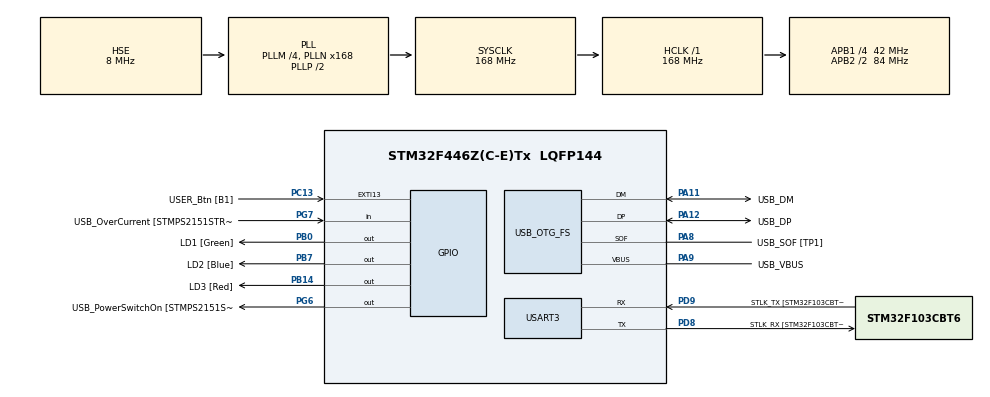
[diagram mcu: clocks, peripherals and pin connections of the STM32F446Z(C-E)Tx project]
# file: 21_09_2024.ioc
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Mcu.Family=STM32F4
Mcu.Name=STM32F446Z(C-E)Tx
Mcu.Package=LQFP144
NVIC.PriorityGroup=NVIC_PRIORITYGROUP_4
PA10.GPIO_Label=USB_ID
PA10.Signal=USB_OTG_FS_ID
PA11.GPIO_Label=USB_DM
PA11.Mode=Device_Only
PA11.Signal=USB_OTG_FS_DM
PA12.GPIO_Label=USB_DP
PA12.Mode=Device_Only
PA12.Signal=USB_OTG_FS_DP
PA13.GPIO_Label=TMS
PA13.Mode=Serial_Wire
PA13.Signal=SYS_JTMS-SWDIO
PA14.GPIO_Label=TCK
PA14.Mode=Serial_Wire
PA14.Signal=SYS_JTCK-SWCLK
PA8.GPIO_Label=USB_SOF [TP1]
PA8.Mode=Activate_SOF_FS
PA8.Signal=USB_OTG_FS_SOF
PA9.GPIO_Label=USB_VBUS
PA9.Mode=Activate_VBUS
PA9.Signal=USB_OTG_FS_VBUS
PB0.GPIO_Label=LD1 [Green]
PB0.Signal=GPIO_Output
PB14.GPIO_Label=LD3 [Red]
PB14.Signal=GPIO_Output
PB7.GPIO_Label=LD2 [Blue]
PB7.Signal=GPIO_Output
PC13.GPIO_Label=USER_Btn [B1]
PC13.Signal=GPXTI13
PC14-OSC32_IN.Mode=LSE-External-Oscillator
PC14-OSC32_IN.Signal=RCC_OSC32_IN
PC15-OSC32_OUT.Mode=LSE-External-Oscillator
PC15-OSC32_OUT.Signal=RCC_OSC32_OUT
PD8.GPIO_Label=STLK_RX [STM32F103CBT6_PA3]
PD8.Mode=Asynchronous
PD8.Signal=USART3_TX
PD9.GPIO_Label=STLK_TX [STM32F103CBT6_PA2]
PD9.Mode=Asynchronous
PD9.Signal=USART3_RX
PG6.GPIO_Label=USB_PowerSwitchOn [STMPS2151STR_EN]
PG6.Signal=GPIO_Output
PG7.GPIO_Label=USB_OverCurrent [STMPS2151STR_FAULT]
PG7.Signal=GPIO_Input
PH0-OSC_IN.GPIO_Label=MCO [STM32F103CBT6_PA8]
PH0-OSC_IN.Mode=HSE-External-Clock-Source
PH0-OSC_IN.Signal=RCC_OSC_IN
PH1-OSC_OUT.Mode=HSE-External-Clock-Source
PH1-OSC_OUT.Signal=RCC_OSC_OUT
ProjectManager.HeapSize=0x200
ProjectManager.StackSize=0x400
ProjectManager.TargetToolchain=Makefile
RCC.48MHZClocksFreq_Value=24000000
RCC.AHBFreq_Value=168000000
RCC.APB1CLKDivider=RCC_HCLK_DIV4
RCC.APB1Freq_Value=42000000
RCC.APB1TimFreq_Value=84000000
RCC.APB2CLKDivider=RCC_HCLK_DIV2
RCC.APB2Freq_Value=84000000
RCC.APB2TimFreq_Value=168000000
RCC.CortexFreq_Value=168000000
RCC.HCLKFreq_Value=168000000
RCC.HSE_VALUE=8000000
RCC.HSI_VALUE=16000000
RCC.PLLM=4
RCC.PLLMUL=RCC_PLL_MUL9
RCC.PLLN=168
RCC.PLLQ=7
RCC.PRESCALERUSB=RCC_USBCLKSOURCE_PLL_DIV1_5
RCC.SYSCLKFreq_VALUE=168000000
RCC.SYSCLKSource=RCC_SYSCLKSOURCE_PLLCLK
RCC.SYSCLKSourceVirtual=RCC_SYSCLKSOURCE_PLLCLK
RCC.USBFreq_Value=48000000
RCC.VCOOutputFreq_Value=336000000
USART3.VirtualMode=VM_ASYNC
USB_OTG_FS.VirtualMode=Device_Only
board=NUCLEO-F446ZE

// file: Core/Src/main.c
/* USER CODE BEGIN Header */
/**
  ******************************************************************************
  * @file           : main.c
  * @brief          : Main program body
  ******************************************************************************
  * @attention
  *
  * Copyright (c) 2024 STMicroelectronics.
  * All rights reserved.
  *
  * This software is licensed under terms that can be found in the LICENSE file
  * in the root directory of this software component.
  * If no LICENSE file comes with this software, it is provided AS-IS.
  *
  ******************************************************************************
  */
/* USER CODE END Header */
#include "main.h"
#include "usart.h"
#include "usb_otg.h"
#include "gpio.h"

/* USER CODE BEGIN Includes */
#include "stdlib.h"
/* USER CODE END Includes */

/* USER CODE BEGIN PTD */
#define WT_MAX_ARRAY_LENGHT 8
/* USER CODE END PTD */

/* USER CODE BEGIN PV */
float wt_temprature_array[WT_MAX_ARRAY_LENGHT] = {70, 85, 30, 60, 90, 50, 20, 40};
uint16_t wt_second_array[WT_MAX_ARRAY_LENGHT];
uint8_t wt_array_length = 8;
/* USER CODE END PV */

void SystemClock_Config(void);

/* USER CODE BEGIN 0 */
void wt_seconds_by_temprature(float* temperature_array, uint16_t* second_array)
{
    for (int i = 0; i < WT_MAX_ARRAY_LENGHT; i++) {
        if (temperature_array[i] > 80) {
            second_array[i] = 5;
        } else if (temperature_array[i] > 60) {
            second_array[i] = 4;
        } else if (temperature_array[i] > 40) {
            second_array[i] = 3;
        } else if (temperature_array[i] > 20) {
            second_array[i] = 2;
        }
        	else {
            second_array[i] = 1;
        }
    }
}

void wt_led_open_by_seconds(uint16_t* second_array) {
    for (int i = 0; i < WT_MAX_ARRAY_LENGHT; i++) {
        HAL_GPIO_WritePin(GPIOB, GPIO_PIN_0, GPIO_PIN_SET);
        HAL_Delay(second_array[i] * 1000);
        HAL_GPIO_WritePin(GPIOB, GPIO_PIN_0, GPIO_PIN_RESET);
        HAL_Delay(500);
    }
}
/* USER CODE END 0 */

int main(void)
{

  /* MCU Configuration--------------------------------------------------------*/

  /* Reset of all peripherals, Initializes the Flash interface and the Systick. */
  HAL_Init();

  /* Configure the system clock */
  SystemClock_Config();

  /* Initialize all configured peripherals */
  MX_GPIO_Init();
  MX_USART3_UART_Init();
  MX_USB_OTG_FS_PCD_Init();

  /* Infinite loop */
  while (1)
  {

  }
}

void SystemClock_Config(void)
{
  RCC_OscInitTypeDef RCC_OscInitStruct = {0};
  RCC_ClkInitTypeDef RCC_ClkInitStruct = {0};

  /** Configure the main internal regulator output voltage
  */
  __HAL_RCC_PWR_CLK_ENABLE();
  __HAL_PWR_VOLTAGESCALING_CONFIG(PWR_REGULATOR_VOLTAGE_SCALE1);

  /** Initializes the RCC Oscillators according to the specified parameters
  * in the RCC_OscInitTypeDef structure.
  */
  RCC_OscInitStruct.OscillatorType = RCC_OSCILLATORTYPE_HSE;
  RCC_OscInitStruct.HSEState = RCC_HSE_BYPASS;
  RCC_OscInitStruct.PLL.PLLState = RCC_PLL_ON;
  RCC_OscInitStruct.PLL.PLLSource = RCC_PLLSOURCE_HSE;
  RCC_OscInitStruct.PLL.PLLM = 4;
  RCC_OscInitStruct.PLL.PLLN = 168;
  RCC_OscInitStruct.PLL.PLLP = RCC_PLLP_DIV2;
  RCC_OscInitStruct.PLL.PLLQ = 7;
  RCC_OscInitStruct.PLL.PLLR = 2;
  if (HAL_RCC_OscConfig(&RCC_OscInitStruct) != HAL_OK)
  {
    Error_Handler();
  }

  /** Initializes the CPU, AHB and APB buses clocks
  */
  RCC_ClkInitStruct.ClockType = RCC_CLOCKTYPE_HCLK|RCC_CLOCKTYPE_SYSCLK
                              |RCC_CLOCKTYPE_PCLK1|RCC_CLOCKTYPE_PCLK2;
  RCC_ClkInitStruct.SYSCLKSource = RCC_SYSCLKSOURCE_PLLCLK;
  RCC_ClkInitStruct.AHBCLKDivider = RCC_SYSCLK_DIV1;
  RCC_ClkInitStruct.APB1CLKDivider = RCC_HCLK_DIV4;
  RCC_ClkInitStruct.APB2CLKDivider = RCC_HCLK_DIV2;

  if (HAL_RCC_ClockConfig(&RCC_ClkInitStruct, FLASH_LATENCY_5) != HAL_OK)
  {
    Error_Handler();
  }
}

void Error_Handler(void)
{
  __disable_irq();
  while (1)
  {
  }
}
